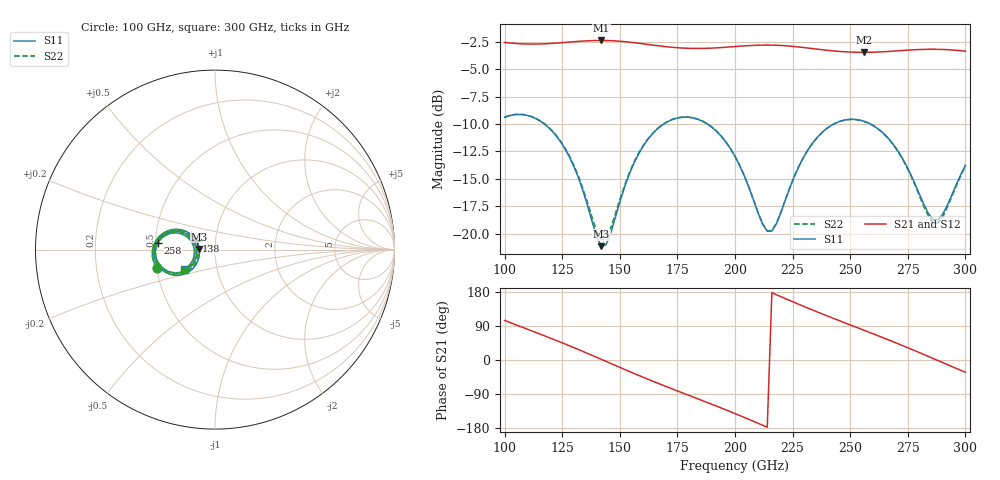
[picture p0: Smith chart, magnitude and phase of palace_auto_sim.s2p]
#  GHZ S DB R 50
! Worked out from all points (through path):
!   101 points, 100 GHz to 300 GHz, reference 50 ohm
!   highest |S21| = -2.36 dB at 142 GHz (marker M1); lowest = -3.4 dB at 256 GHz (marker M2)
!   group delay of S21, straight-line fit = 6.9 ps
!   lowest |S11| = -21.1 dB at 142 GHz (marker M3), VSWR 1.19, Z = 41.9 + j0.234 ohm
!   |S11| at or under -10 dB: 117.3 GHz to 169.1 GHz (51.8 GHz wide, 36.2 % of centre); 188.1 GHz to 242.8 GHz (54.75 GHz wide, 25.4 % of centre); 258.9 GHz to end of sweep
!   |S22| runs from -20.5 to -9.1 dB; largest |S21 - S12| = 1.3e-13
!   S11 on the Smith chart (normalised r, x): 100 GHz: 0.50, -0.11; 138 GHz: 0.81, +0.08; 258 GHz: 0.52, +0.04; 300 GHz: 0.69, -0.16
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100  -9.38 -162.8  -2.55 104.5  -2.55 104.5  -9.36 -162.4
118  -10.12 164.8  -2.66 62.2  -2.66 62.2  -10.08 165.6
134  -16.09 147.8  -2.42 22.6  -2.42 22.6  -15.89 149.6
138  -18.92 155.2  -2.37 12.2  -2.37 12.2  -18.54 157.1
142  -21.15 178.2  -2.36 1.7  -2.36 1.7  -20.53 178.5
146  -20.00 -153.6  -2.38 -8.9  -2.38 -8.9  -19.53 -155.5
154  -14.63 -139.5  -2.51 -29.9  -2.51 -29.9  -14.51 -141.3
168  -10.15 -157.3  -2.88 -64.9  -2.88 -64.9  -10.12 -158.2
184  -9.57 175.5  -3.09 -102.7  -3.09 -102.7  -9.56 175.0
200  -12.95 153.1  -2.92 -141.4  -2.92 -141.4  -12.93 152.7
212  -19.15 167.3  -2.79 -172.1  -2.79 -172.1  -19.11 167.0
216  -19.76 -169.9  -2.79 177.4  -2.79 177.4  -19.72 -170.3
224  -15.70 -144.6  -2.88 156.5  -2.88 156.5  -15.69 -145.1
234  -11.65 -150.1  -3.11 131.1  -3.11 131.1  -11.65 -150.5
244  -9.87 -164.7  -3.34 106.8  -3.34 106.8  -9.88 -165.1
256  -9.74 176.3  -3.45 78.5  -3.45 78.5  -9.75 175.8
258  -9.90 173.2  -3.44 73.8  -3.44 73.8  -9.92 172.7
268  -11.66 159.6  -3.34 49.7  -3.34 49.7  -11.70 159.0
278  -15.39 155.8  -3.21 24.7  -3.21 24.7  -15.51 154.9
286  -18.70 178.1  -3.17 4.0  -3.17 4.0  -18.98 177.9
290  -18.29 -163.2  -3.18 -6.5  -3.18 -6.5  -18.54 -162.5
300  -13.76 -147.6  -3.34 -32.3  -3.34 -32.3  -13.83 -146.6
